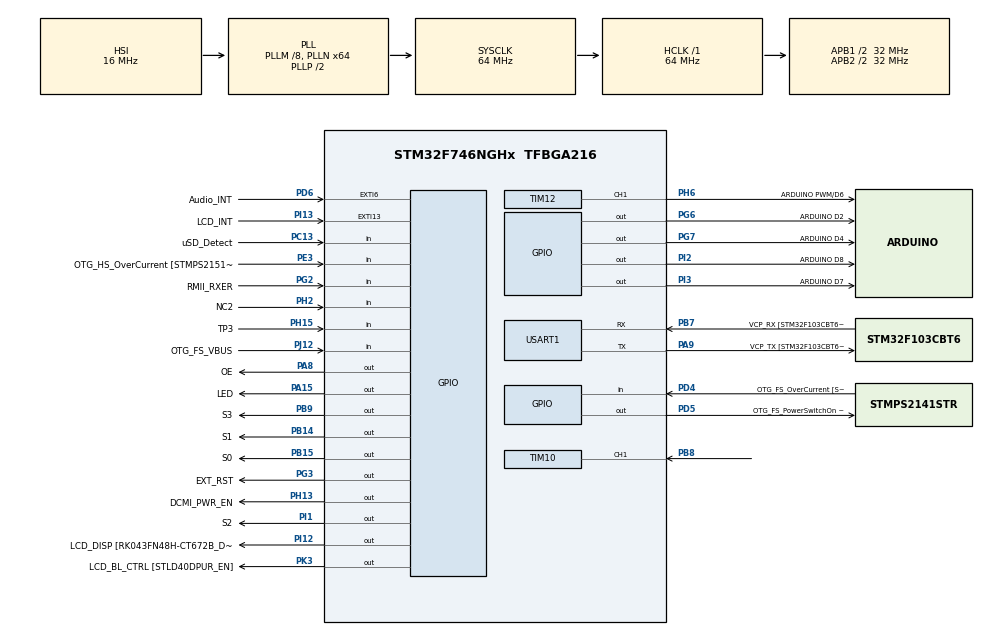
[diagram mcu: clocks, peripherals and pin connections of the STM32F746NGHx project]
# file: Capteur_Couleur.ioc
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Dma.Request0=USART1_RX
Dma.USART1_RX.0.Direction=DMA_PERIPH_TO_MEMORY
Dma.USART1_RX.0.FIFOMode=DMA_FIFOMODE_DISABLE
Dma.USART1_RX.0.Instance=DMA2_Stream2
Dma.USART1_RX.0.MemDataAlignment=DMA_MDATAALIGN_BYTE
Dma.USART1_RX.0.MemInc=DMA_MINC_ENABLE
Dma.USART1_RX.0.Mode=DMA_NORMAL
Dma.USART1_RX.0.PeriphDataAlignment=DMA_PDATAALIGN_BYTE
Dma.USART1_RX.0.PeriphInc=DMA_PINC_DISABLE
Dma.USART1_RX.0.Priority=DMA_PRIORITY_LOW
Mcu.Family=STM32F7
Mcu.Name=STM32F746NGHx
Mcu.Package=TFBGA216
NVIC.DMA2_Stream2_IRQn=true\:0\:0\:false\:false\:true\:false\:true
NVIC.PriorityGroup=NVIC_PRIORITYGROUP_4
NVIC.TIM1_UP_TIM10_IRQn=true\:0\:0\:false\:false\:true\:true\:true
PA0/WKUP.GPIO_Label=ARDUINO A0
PA0/WKUP.GPIO_Mode=GPIO_MODE_ANALOG
PA0/WKUP.GPIO_PuPd=GPIO_NOPULL
PA0/WKUP.Signal=ADCx_IN0
PA1.GPIO_Label=RMII_REF_CLK [LAN8742A-CZ-TR_REFCLK0]
PA1.Signal=ETH_REF_CLK
PA10.GPIO_Label=OTG_FS_ID
PA10.Signal=USB_OTG_FS_ID
PA11.GPIO_Label=OTG_FS_N
PA11.Signal=USB_OTG_FS_DM
PA12.GPIO_Label=OTG_FS_P
PA12.Signal=USB_OTG_FS_DP
PA13.GPIO_Label=SWDIO
PA13.Mode=Serial_Wire
PA13.Signal=SYS_JTMS-SWDIO
PA14.GPIO_Label=SWCLK
PA14.Mode=Serial_Wire
PA14.Signal=SYS_JTCK-SWCLK
PA15.GPIO_Label=LED
PA15.Signal=GPIO_Output
PA2.GPIO_Label=RMII_MDIO [LAN8742A-CZ-TR_MDIO]
PA2.Signal=ETH_MDIO
PA3.GPIO_Label=ULPI_D0 [USB3320C-EZK_D0]
PA3.Signal=USB_OTG_HS_ULPI_D0
PA4.GPIO_Label=DCMI_HSYNC
PA4.Signal=DCMI_HSYNC
PA5.GPIO_Label=ULPI_CLK [USB3320C-EZK_CLKOUT]
PA5.Signal=USB_OTG_HS_ULPI_CK
PA6.Signal=DCMI_PIXCLK
PA7.GPIO_Label=RMII_CRS_DV [LAN8742A-CZ-TR_CRS_DV]
PA7.Signal=ETH_CRS_DV
PA8.GPIO_Label=OE
PA8.Signal=GPIO_Output
PA9.GPIO_Label=VCP_TX [STM32F103CBT6_PA3]
PA9.GPIO_Mode=GPIO_MODE_AF_PP
PA9.GPIO_PuPd=GPIO_NOPULL
PA9.GPIO_Speed=GPIO_SPEED_FREQ_LOW
PA9.Mode=Asynchronous
PA9.Signal=USART1_TX
PB0.GPIO_Label=ULPI_D1 [USB3320C-EZK_D1]
PB0.Signal=USB_OTG_HS_ULPI_D1
PB1.GPIO_Label=ULPI_D2 [USB3320C-EZK_D2]
PB1.Signal=USB_OTG_HS_ULPI_D2
PB10.GPIO_Label=ULPI_D3 [USB3320C-EZK_D3]
PB10.Signal=USB_OTG_HS_ULPI_D3
PB11.GPIO_Label=ULPI_D4 [USB3320C-EZK_D4]
PB11.Signal=USB_OTG_HS_ULPI_D4
PB12.GPIO_Label=ULPI_D5 [USB3320C-EZK_D5]
PB12.Signal=USB_OTG_HS_ULPI_D5
PB13.GPIO_Label=ULPI_D6 [USB3320C-EZK_D6]
PB13.Signal=USB_OTG_HS_ULPI_D6
PB14.GPIO_Label=S1
PB14.Signal=GPIO_Output
PB15.GPIO_Label=S0
PB15.Signal=GPIO_Output
PB2.Signal=QUADSPI_CLK
PB3.GPIO_Label=SWO
PB3.Signal=SYS_JTDO-SWO
PB4.GPIO_Label=ARDUINO PWM/D3
PB4.GPIO_ModeDefaultPP=GPIO_MODE_AF_PP
PB4.GPIO_PuPd=GPIO_NOPULL
PB4.GPIO_Speed=GPIO_SPEED_FREQ_LOW
PB4.Signal=S_TIM3_CH1
PB5.GPIO_Label=ULPI_D7 [USB3320C-EZK_D7]
PB5.Signal=USB_OTG_HS_ULPI_D7
PB6.GPIO_Label=QSPI_NCS [N25Q128A13EF840E_S]
PB6.Signal=QUADSPI_BK1_NCS
PB7.GPIO_Label=VCP_RX [STM32F103CBT6_PA2]
PB7.GPIO_Mode=GPIO_MODE_AF_PP
PB7.GPIO_PuPd=GPIO_NOPULL
PB7.GPIO_Speed=GPIO_SPEED_FREQ_LOW
PB7.Mode=Asynchronous
PB7.Signal=USART1_RX
PB8.Signal=S_TIM10_CH1
PB9.GPIO_Label=S3
PB9.Signal=GPIO_Output
PC0.GPIO_Label=ULPI_STP [USB3320C-EZK_STP]
PC0.Signal=USB_OTG_HS_ULPI_STP
PC1.GPIO_Label=RMII_MDC [LAN8742A-CZ-TR_MDC]
PC1.Signal=ETH_MDC
PC10.GPIO_Label=SDMMC_D2
PC10.Signal=SDMMC1_D2
PC11.GPIO_Label=SDMMC_D3
PC11.Signal=SDMMC1_D3
PC12.GPIO_Label=SDMMC_CK
PC12.Signal=SDMMC1_CK
PC13.GPIO_Label=uSD_Detect
PC13.Signal=GPIO_Input
PC14/OSC32_IN.GPIO_Label=RCC_OSC32_IN
PC14/OSC32_IN.Signal=RCC_OSC32_IN
PC15/OSC32_OUT.GPIO_Label=RCC_OSC32_OUT
PC15/OSC32_OUT.Signal=RCC_OSC32_OUT
PC2.GPIO_Label=ULPI_DIR [USB3320C-EZK_DIR]
PC2.Signal=USB_OTG_HS_ULPI_DIR
PC3.GPIO_Label=FMC_SDCKE0 [MT48LC4M32B2B5-6A_CKE]
PC3.Signal=FMC_SDCKE0
PC4.GPIO_Label=RMII_RXD0 [LAN8742A-CZ-TR_RXD0]
PC4.Signal=ETH_RXD0
PC5.GPIO_Label=RMII_RXD1 [LAN8742A-CZ-TR_RXD1]
PC5.Signal=ETH_RXD1
PC6.GPIO_Label=ARDUINO TX/D1
PC6.Signal=USART6_TX
PC7.GPIO_Label=ARDUINO RX/D0
PC7.Signal=USART6_RX
PC8.Signal=SDMMC1_D0
PC9.Signal=SDMMC1_D1
PD0.GPIO_Label=FMC_D2 [MT48LC4M32B2B5-6A_DQ2]
PD0.Signal=FMC_D2_DA2
PD1.GPIO_Label=FMC_D3 [MT48LC4M32B2B5-6A_DQ3]
PD1.Signal=FMC_D3_DA3
PD10.GPIO_Label=FMC_D15 [MT48LC4M32B2B5-6A_DQ15]
PD10.Signal=FMC_D15_DA15
PD11.GPIO_Label=QSPI_D0 [N25Q128A13EF840E_DQ0]
PD11.Signal=QUADSPI_BK1_IO0
PD12.GPIO_Label=QSPI_D1 [N25Q128A13EF840E_DQ1]
PD12.Signal=QUADSPI_BK1_IO1
PD13.GPIO_Label=QSPI_D3 [N25Q128A13EF840E_DQ3]
PD13.Signal=QUADSPI_BK1_IO3
PD14.GPIO_Label=FMC_D0 [MT48LC4M32B2B5-6A_DQ0]
PD14.Signal=FMC_D0_DA0
PD15.GPIO_Label=FMC_D1 [MT48LC4M32B2B5-6A_DQ1]
PD15.Signal=FMC_D1_DA1
PD2.GPIO_Label=SDMMC_D0
PD2.Signal=SDMMC1_CMD
PD3.GPIO_Label=DCMI_D5
PD3.Signal=DCMI_D5
PD4.GPIO_Label=OTG_FS_OverCurrent [STMPS2141STR_Fault]
PD4.Signal=GPIO_Input
PD5.GPIO_Label=OTG_FS_PowerSwitchOn [STMPS2141STR_EN]
PD5.PinState=GPIO_PIN_SET
PD5.Signal=GPIO_Output
PD6.GPIO_Label=Audio_INT
PD6.GPIO_ModeDefaultEXTI=GPIO_MODE_EVT_RISING
PD6.Signal=GPXTI6
PD7.GPIO_Label=SPDIF_RX0 [74LVC1G04SE_4]
PD7.Signal=SPDIFRX_IN0
PD8.GPIO_Label=FMC_D13 [MT48LC4M32B2B5-6A_DQ13]
PD8.Signal=FMC_D13_DA13
PD9.GPIO_Label=FMC_D14 [MT48LC4M32B2B5-6A_DQ14]
PD9.Signal=FMC_D14_DA14
PE0.GPIO_Label=FMC_NBL0 [MT48LC4M32B2B5-6A_DQM0]
PE0.Signal=FMC_NBL0
PE1.GPIO_Label=FMC_NBL1 [MT48LC4M32B2B5-6A_DQM1]
PE1.Signal=FMC_NBL1
PE10.GPIO_Label=FMC_D7 [MT48LC4M32B2B5-6A_DQ7]
PE10.Signal=FMC_D7_DA7
PE11.GPIO_Label=FMC_D8 [MT48LC4M32B2B5-6A_DQ8]
PE11.Signal=FMC_D8_DA8
PE12.GPIO_Label=FMC_D9 [MT48LC4M32B2B5-6A_DQ9]
PE12.Signal=FMC_D9_DA9
PE13.GPIO_Label=FMC_D10 [MT48LC4M32B2B5-6A_DQ10]
PE13.Signal=FMC_D10_DA10
PE14.GPIO_Label=FMC_D11 [MT48LC4M32B2B5-6A_DQ11]
PE14.Signal=FMC_D11_DA11
PE15.GPIO_Label=FMC_D12 [MT48LC4M32B2B5-6A_DQ12]
PE15.Signal=FMC_D12_DA12
PE2.GPIO_Label=QSPI_D2 [N25Q128A13EF840E_DQ2]
PE2.Signal=QUADSPI_BK1_IO2
PE3.GPIO_Label=OTG_HS_OverCurrent [STMPS2151STR_FAULT]
PE3.Signal=GPIO_Input
PE4.GPIO_Label=LCD_B0 [RK043FN48H-CT672B_B0]
PE4.Signal=LTDC_B0
PE5.GPIO_Label=DCMI_D6
PE5.Signal=DCMI_D6
PE6.GPIO_Label=DCMI_D7
PE6.Signal=DCMI_D7
PE7.GPIO_Label=FMC_D4 [MT48LC4M32B2B5-6A_DQ4]
PE7.Signal=FMC_D4_DA4
PE8.GPIO_Label=FMC_D5 [MT48LC4M32B2B5-6A_DQ5]
PE8.Signal=FMC_D5_DA5
PE9.GPIO_Label=FMC_D6 [MT48LC4M32B2B5-6A_DQ6]
PE9.Signal=FMC_D6_DA6
PF0.GPIO_Label=FMC_A0 [MT48LC4M32B2B5-6A_A0]
PF0.Signal=FMC_A0
PF1.GPIO_Label=FMC_A1 [MT48LC4M32B2B5-6A_A1]
PF1.Signal=FMC_A1
PF10.GPIO_Label=ARDUINO A1
PF10.GPIO_Mode=GPIO_MODE_ANALOG
PF10.GPIO_PuPd=GPIO_NOPULL
PF10.Signal=ADC3_IN8
PF11.GPIO_Label=FMC_SDNRAS [MT48LC4M32B2B5-6A_RAS]
PF11.Signal=FMC_SDNRAS
PF12.GPIO_Label=FMC_A6 [MT48LC4M32B2B5-6A_A6]
PF12.Signal=FMC_A6
PF13.GPIO_Label=FMC_A7 [MT48LC4M32B2B5-6A_A7]
PF13.Signal=FMC_A7
PF14.GPIO_Label=FMC_A8 [MT48LC4M32B2B5-6A_A8]
PF14.Signal=FMC_A8
PF15.GPIO_Label=FMC_A9 [MT48LC4M32B2B5-6A_A9]
PF15.Signal=FMC_A9
PF2.GPIO_Label=FMC_A2 [MT48LC4M32B2B5-6A_A2]
PF2.Signal=FMC_A2
PF3.GPIO_Label=FMC_A3 [MT48LC4M32B2B5-6A_A3]
PF3.Signal=FMC_A3
PF4.GPIO_Label=FMC_A4 [MT48LC4M32B2B5-6A_A4]
PF4.Signal=FMC_A4
PF5.GPIO_Label=FMC_A5 [MT48LC4M32B2B5-6A_A5]
PF5.Signal=FMC_A5
PF6.GPIO_Label=ARDUINO A5
PF6.GPIO_Mode=GPIO_MODE_ANALOG
PF6.GPIO_PuPd=GPIO_NOPULL
PF6.Signal=ADC3_IN4
PF7.GPIO_Label=ARDUINO A4
PF7.GPIO_Mode=GPIO_MODE_ANALOG
PF7.GPIO_PuPd=GPIO_NOPULL
PF7.Signal=ADC3_IN5
PF8.GPIO_Label=ARDUINO A3
PF8.GPIO_Mode=GPIO_MODE_ANALOG
PF8.GPIO_PuPd=GPIO_NOPULL
PF8.Signal=ADC3_IN6
PF9.GPIO_Label=ARDUINO A2
PF9.GPIO_Mode=GPIO_MODE_ANALOG
PF9.GPIO_PuPd=GPIO_NOPULL
PF9.Signal=ADC3_IN7
PG0.GPIO_Label=FMC_A10 [MT48LC4M32B2B5-6A_A10]
PG0.Signal=FMC_A10
PG1.GPIO_Label=FMC_A11 [MT48LC4M32B2B5-6A_A11]
PG1.Signal=FMC_A11
PG10.GPIO_Label=SAI2_SDB [WM8994ECS/R_ADCDAT1]
PG10.Signal=SAI2_SD_B
PG11.GPIO_Label=RMII_TX_EN [LAN8742A-CZ-TR_TXEN]
PG11.Signal=ETH_TX_EN
PG12.GPIO_Label=LCD_B4 [RK043FN48H-CT672B_B4]
PG12.Signal=LTDC_B4
PG13.GPIO_Label=RMII_TXD0 [LAN8742A-CZ-TR_TXD0]
PG13.Signal=ETH_TXD0
PG14.GPIO_Label=RMII_TXD1 [LAN8742A-CZ-TR_TXD1]
PG14.Signal=ETH_TXD1
PG15.GPIO_Label=FMC_SDNCAS [MT48LC4M32B2B5-6A_CAS]
PG15.Signal=FMC_SDNCAS
PG2.GPIO_Label=RMII_RXER
PG2.Signal=GPIO_Input
PG3.GPIO_Label=EXT_RST
PG3.Signal=GPIO_Output
PG4.GPIO_Label=FMC_BA0 [MT48LC4M32B2B5-6A_BA0]
PG4.Signal=FMC_A14_BA0
PG5.GPIO_Label=FMC_BA1 [MT48LC4M32B2B5-6A_BA1]
PG5.Signal=FMC_A15_BA1
PG6.GPIO_Label=ARDUINO D2
PG6.Signal=GPIO_Output
PG7.GPIO_Label=ARDUINO D4
PG7.Signal=GPIO_Output
PG8.GPIO_Label=FMC_SDCLK [MT48LC4M32B2B5-6A_CLK]
PG8.Signal=FMC_SDCLK
PG9.GPIO_Label=DCMI_VSYNC
PG9.Signal=DCMI_VSYNC
PH0/OSC_IN.GPIO_Label=OSC_25M [NZ2520SB-25.00M_OUT]
PH0/OSC_IN.Mode=HSE-External-Oscillator
PH0/OSC_IN.Signal=RCC_OSC_IN
PH1/OSC_OUT.Mode=HSE-External-Oscillator
PH1/OSC_OUT.Signal=RCC_OSC_OUT
PH10.GPIO_Label=DCMI_D1
PH10.Signal=DCMI_D1
PH11.GPIO_Label=DCMI_D2
PH11.Signal=DCMI_D2
PH12.GPIO_Label=DCMI_D3
PH12.Signal=DCMI_D3
PH13.GPIO_Label=DCMI_PWR_EN
PH13.Signal=GPIO_Output
PH14.GPIO_Label=DCMI_D4
PH14.Signal=DCMI_D4
PH15.GPIO_Label=TP3
PH15.Signal=GPIO_Input
PH2.GPIO_Label=NC2
PH2.Signal=GPIO_Input
PH3.GPIO_Label=FMC_SDNE0 [MT48LC4M32B2B5-6A_CS]
PH3.Signal=FMC_SDNE0
PH4.GPIO_Label=ULPI_NXT [USB3320C-EZK_NXT]
PH4.Signal=USB_OTG_HS_ULPI_NXT
PH5.GPIO_Label=FMC_SDNME [MT48LC4M32B2B5-6A_WE]
PH5.Signal=FMC_SDNWE
PH6.GPIO_Label=ARDUINO PWM/D6
PH6.Signal=S_TIM12_CH1
PH7.GPIO_Label=LCD_SCL [RK043FN48H-CT672B_SCL]
PH7.Signal=I2C3_SCL
PH8.GPIO_Label=LCD_SDA [RK043FN48H-CT672B_SDA]
PH8.Signal=I2C3_SDA
PH9.GPIO_Label=DCMI_D0
PH9.Signal=DCMI_D0
PI0.GPIO_Label=ARDUINO PWM/CS/D5
PI0.GPIO_ModeDefaultPP=GPIO_MODE_AF_PP
PI0.GPIO_PuPd=GPIO_NOPULL
PI0.GPIO_Speed=GPIO_SPEED_FREQ_LOW
PI0.Signal=S_TIM5_CH4
PI1.GPIO_Label=S2
PI1.Signal=GPIO_Output
PI10.GPIO_Label=LCD_HSYNC [RK043FN48H-CT672B_HSYNC]
PI10.Signal=LTDC_HSYNC
PI12.GPIO_Label=LCD_DISP [RK043FN48H-CT672B_DISP] 
PI12.Signal=GPIO_Output
PI13.GPIO_Label=LCD_INT
PI13.GPIO_ModeDefaultEXTI=GPIO_MODE_EVT_RISING
PI13.Signal=GPXTI13
PI14.GPIO_Label=LCD_CLK [RK043FN48H-CT672B_CLK]
PI14.Signal=LTDC_CLK
PI15.GPIO_Label=LCD_R0 [RK043FN48H-CT672B_R0]
PI15.Signal=LTDC_R0
PI2.GPIO_Label=ARDUINO D8
PI2.Signal=GPIO_Output
PI3.GPIO_Label=ARDUINO D7
PI3.Signal=GPIO_Output
PI4.GPIO_Label=SAI2_MCLKA [WM8994ECS/R_MCLK1]
PI4.Signal=SAI2_MCLK_A
PI5.GPIO_Label=SAI2_SCKA [WM8994ECS/R_BCLK1]
PI5.Signal=SAI2_SCK_A
PI6.GPIO_Label=SAI2_SDA [WM8994ECS/R_DACDAT1]
PI6.Signal=SAI2_SD_A
PI7.GPIO_Label=SAI2_FSA [WM8994ECS/R_LRCLK1]
PI7.Signal=SAI2_FS_A
PI8.GPIO_Label=NC1 [TP2]
PI8.Signal=RTC_TS
PI9.GPIO_Label=LCD_VSYNC [RK043FN48H-CT672B_VSYNC]
PI9.Signal=LTDC_VSYNC
PJ0.GPIO_Label=LCD_R1 [RK043FN48H-CT672B_R1]
PJ0.Signal=LTDC_R1
PJ1.GPIO_Label=LCD_R2 [RK043FN48H-CT672B_R2]
PJ1.Signal=LTDC_R2
PJ10.GPIO_Label=LCD_G3 [RK043FN48H-CT672B_G3]
PJ10.Signal=LTDC_G3
PJ11.GPIO_Label=LCD_G4 [RK043FN48H-CT672B_G4]
PJ11.Signal=LTDC_G4
PJ12.GPIO_Label=OTG_FS_VBUS
PJ12.Signal=GPIO_Input
PJ13.GPIO_Label=LCD_B1 [RK043FN48H-CT672B_B1]
PJ13.Signal=LTDC_B1
PJ14.GPIO_Label=LCD_B2 [RK043FN48H-CT672B_B2]
PJ14.Signal=LTDC_B2
PJ15.GPIO_Label=LCD_B3 [RK043FN48H-CT672B_B3]
PJ15.Signal=LTDC_B3
PJ2.GPIO_Label=LCD_R3 [RK043FN48H-CT672B_R3]
PJ2.Signal=LTDC_R3
PJ3.GPIO_Label=LCD_R4 [RK043FN48H-CT672B_R4]
PJ3.Signal=LTDC_R4
PJ4.GPIO_Label=LCD_R5 [RK043FN48H-CT672B_R5]
PJ4.Signal=LTDC_R5
PJ5.GPIO_Label=LCD_R6 [RK043FN48H-CT672B_R6]
PJ5.Signal=LTDC_R6
PJ6.GPIO_Label=LCD_R7 [RK043FN48H-CT672B_R7]
PJ6.Signal=LTDC_R7
PJ7.GPIO_Label=LCD_G0 [RK043FN48H-CT672B_G0]
PJ7.Signal=LTDC_G0
PJ8.GPIO_Label=LCD_G1 [RK043FN48H-CT672B_G1]
PJ8.Signal=LTDC_G1
PJ9.GPIO_Label=LCD_G2 [RK043FN48H-CT672B_G2]
PJ9.Signal=LTDC_G2
PK0.GPIO_Label=LCD_G5 [RK043FN48H-CT672B_G5]
PK0.Signal=LTDC_G5
PK1.GPIO_Label=LCD_G6 [RK043FN48H-CT672B_G6]
PK1.Signal=LTDC_G6
PK2.GPIO_Label=LCD_G7 [RK043FN48H-CT672B_G7]
PK2.Signal=LTDC_G7
PK3.GPIO_Label=LCD_BL_CTRL [STLD40DPUR_EN]
PK3.Signal=GPIO_Output
PK4.GPIO_Label=LCD_B5 [RK043FN48H-CT672B_B5]
PK4.Signal=LTDC_B5
PK5.GPIO_Label=LCD_B6 [RK043FN48H-CT672B_B6]
PK5.Signal=LTDC_B6
PK6.GPIO_Label=LCD_B7 [RK043FN48H-CT672B_B7]
PK6.Signal=LTDC_B7
PK7.GPIO_Label=LCD_DE [RK043FN48H-CT672B_DE]
PK7.Signal=LTDC_DE
ProjectManager.HeapSize=0x200
ProjectManager.StackSize=0x400
ProjectManager.TargetToolchain=STM32CubeIDE
RCC.AHBFreq_Value=64000000
RCC.APB1CLKDivider=RCC_HCLK_DIV2
RCC.APB1Freq_Value=32000000
RCC.APB1TimFreq_Value=64000000
RCC.APB2CLKDivider=RCC_HCLK_DIV2
RCC.APB2Freq_Value=32000000
RCC.APB2TimFreq_Value=64000000
RCC.CortexFreq_Value=64000000
RCC.HCLKFreq_Value=64000000
RCC.HSE_VALUE=25000000
RCC.HSI_VALUE=16000000
RCC.LSE_VALUE=32768
RCC.PLLM=8
RCC.PLLN=64
RCC.PLLSourceVirtual=RCC_PLLSOURCE_HSI
RCC.SYSCLKFreq_VALUE=64000000
RCC.SYSCLKSource=RCC_SYSCLKSOURCE_PLLCLK
RCC.USBFreq_Value=64000000
RCC.VCOOutputFreq_Value=128000000
SH.ADCx_IN0.0=ADC3_IN0
SH.FMC_A0.0=FMC_A0
SH.FMC_A1.0=FMC_A1
SH.FMC_A10.0=FMC_A10
SH.FMC_A11.0=FMC_A11
SH.FMC_A14_BA0.0=FMC_BA0
SH.FMC_A15_BA1.0=FMC_BA1
SH.FMC_A2.0=FMC_A2
SH.FMC_A3.0=FMC_A3
SH.FMC_A4.0=FMC_A4
SH.FMC_A5.0=FMC_A5
SH.FMC_A6.0=FMC_A6
SH.FMC_A7.0=FMC_A7
SH.FMC_A8.0=FMC_A8
SH.FMC_A9.0=FMC_A9
SH.FMC_D0_DA0.0=FMC_D0
SH.FMC_D10_DA10.0=FMC_D10
SH.FMC_D11_DA11.0=FMC_D11
SH.FMC_D12_DA12.0=FMC_D12
SH.FMC_D13_DA13.0=FMC_D13
SH.FMC_D14_DA14.0=FMC_D14
SH.FMC_D15_DA15.0=FMC_D15
SH.FMC_D1_DA1.0=FMC_D1
SH.FMC_D2_DA2.0=FMC_D2
SH.FMC_D3_DA3.0=FMC_D3
SH.FMC_D4_DA4.0=FMC_D4
SH.FMC_D5_DA5.0=FMC_D5
SH.FMC_D6_DA6.0=FMC_D6
SH.FMC_D7_DA7.0=FMC_D7
SH.FMC_D8_DA8.0=FMC_D8
SH.FMC_D9_DA9.0=FMC_D9
SH.FMC_NBL0.0=FMC_NBL0
SH.FMC_NBL1.0=FMC_NBL1
SH.FMC_SDCLK.0=FMC_SDCLK
SH.FMC_SDNCAS.0=FMC_SDNCAS
SH.FMC_SDNRAS.0=FMC_SDNRAS
SH.FMC_SDNWE.0=FMC_SDNWE
SH.S_TIM10_CH1.0=TIM10_CH1,Input_Capture1_from_TI1
SH.S_TIM12_CH1.0=TIM12_CH1,PWM Generation1 CH1
SH.S_TIM3_CH1.0=TIM3_CH1
SH.S_TIM5_CH4.0=TIM5_CH4
TIM10.Channel=TIM_CHANNEL_1
TIM12.AutoReloadPreload=TIM_AUTORELOAD_PRELOAD_ENABLE
TIM12.Channel-PWM\ Generation1\ CH1=TIM_CHANNEL_1
TIM12.Period=9
TIM12.Prescaler=63
TIM12.Pulse-PWM\ Generation1\ CH1=4
USART1.VirtualMode-Asynchronous=VM_ASYNC
VP_TIM10_VS_ClockSourceINT.Mode=Enable_Timer
board=STM32F746G-DISCO

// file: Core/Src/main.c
/* USER CODE BEGIN Header */
/**
 ******************************************************************************
 * @file           : main.c
 * @brief          : Main program body
 ******************************************************************************
 * @attention
 *
 * Copyright (c) 2022 STMicroelectronics.
 * All rights reserved.
 *
 * This software is licensed under terms that can be found in the LICENSE file
 * in the root directory of this software component.
 * If no LICENSE file comes with this software, it is provided AS-IS.
 *
 ******************************************************************************
 */
/* USER CODE END Header */
#include "main.h"
#include "dma.h"
#include "tim.h"
#include "usart.h"
#include "gpio.h"

/* USER CODE BEGIN Includes */
#include "TCS3200.h"
#include <string.h>
/* USER CODE END Includes */

/* USER CODE BEGIN PD */
#define IDLE   0
#define DONE   1
#define F_CLK  64000000UL
/* USER CODE END PD */

/* USER CODE BEGIN PV */

// For input frequency calculation
volatile uint8_t gu8_State = IDLE;
volatile uint32_t gu32_T1 = 0;
volatile uint32_t gu32_T2 = 0;
volatile uint32_t gu32_Ticks = 0;
volatile uint16_t gu16_TIM10_OVC = 0;
volatile uint32_t gu32_Freq = 0;

char init_msg[100];
char test_msg[100];

TCS3200 tcs;
/* USER CODE END PV */

void SystemClock_Config(void);

int main(void)
{

  /* MCU Configuration--------------------------------------------------------*/

  /* Reset of all peripherals, Initializes the Flash interface and the Systick. */
  HAL_Init();

  /* Configure the system clock */
  SystemClock_Config();

  /* Initialize all configured peripherals */
  MX_GPIO_Init();
  MX_DMA_Init();
  MX_TIM10_Init();
  MX_USART1_UART_Init();
  MX_TIM12_Init();
  /* USER CODE BEGIN 2 */
	sprintf(init_msg, "TCS3200 Initialized\r\n");
	HAL_UART_Transmit(&huart1,init_msg,strlen(init_msg), HAL_MAX_DELAY);

	TCS3200_Init(&tcs);

	HAL_TIM_PWM_Start(&htim12, TIM_CHANNEL_1);

  /* USER CODE END 2 */

  /* Infinite loop */
  /* USER CODE BEGIN WHILE */
	while (1)
	{
		tcs.red=TCS3200_Read_Color(&tcs,FILTER_RED);
		tcs.green=TCS3200_Read_Color(&tcs,FILTER_GREEN);
		tcs.blue=TCS3200_Read_Color(&tcs,FILTER_BLUE);

		//TCS3200_Display_Colors(tcs);
		TCS3200_Detected_Color(tcs);

		HAL_Delay(1000);

    /* USER CODE END WHILE */

	}
}

void SystemClock_Config(void)
{
  RCC_OscInitTypeDef RCC_OscInitStruct = {0};
  RCC_ClkInitTypeDef RCC_ClkInitStruct = {0};

  /** Configure the main internal regulator output voltage
  */
  __HAL_RCC_PWR_CLK_ENABLE();
  __HAL_PWR_VOLTAGESCALING_CONFIG(PWR_REGULATOR_VOLTAGE_SCALE3);
  /** Initializes the RCC Oscillators according to the specified parameters
  * in the RCC_OscInitTypeDef structure.
  */
  RCC_OscInitStruct.OscillatorType = RCC_OSCILLATORTYPE_HSI;
  RCC_OscInitStruct.HSIState = RCC_HSI_ON;
  RCC_OscInitStruct.HSICalibrationValue = RCC_HSICALIBRATION_DEFAULT;
  RCC_OscInitStruct.PLL.PLLState = RCC_PLL_ON;
  RCC_OscInitStruct.PLL.PLLSource = RCC_PLLSOURCE_HSI;
  RCC_OscInitStruct.PLL.PLLM = 8;
  RCC_OscInitStruct.PLL.PLLN = 64;
  RCC_OscInitStruct.PLL.PLLP = RCC_PLLP_DIV2;
  RCC_OscInitStruct.PLL.PLLQ = 2;
  if (HAL_RCC_OscConfig(&RCC_OscInitStruct) != HAL_OK)
  {
    Error_Handler();
  }
  /** Initializes the CPU, AHB and APB buses clocks
  */
  RCC_ClkInitStruct.ClockType = RCC_CLOCKTYPE_HCLK|RCC_CLOCKTYPE_SYSCLK
                              |RCC_CLOCKTYPE_PCLK1|RCC_CLOCKTYPE_PCLK2;
  RCC_ClkInitStruct.SYSCLKSource = RCC_SYSCLKSOURCE_PLLCLK;
  RCC_ClkInitStruct.AHBCLKDivider = RCC_SYSCLK_DIV1;
  RCC_ClkInitStruct.APB1CLKDivider = RCC_HCLK_DIV2;
  RCC_ClkInitStruct.APB2CLKDivider = RCC_HCLK_DIV2;

  if (HAL_RCC_ClockConfig(&RCC_ClkInitStruct, FLASH_LATENCY_2) != HAL_OK)
  {
    Error_Handler();
  }
}

/* USER CODE BEGIN 4 */
void HAL_TIM_IC_CaptureCallback(TIM_HandleTypeDef *htim)
{
	if (htim->Instance == TIM10)
	{
		if((gu8_State == IDLE)&(tcs.freq_available==1))
		{
			gu32_T1 = TIM10->CCR1;
			gu16_TIM10_OVC = 0;
			gu8_State = DONE;

		}
		else if((gu8_State == DONE)&(tcs.freq_available==1))
		{
			gu32_T2 = TIM10->CCR1;
			gu32_Ticks = (gu32_T2 + (gu16_TIM10_OVC * 65535)) - gu32_T1;
			tcs.freq = (uint32_t)(F_CLK/gu32_Ticks);
			if(tcs.freq != 0)
			{
				//sprintf(freq_msg, "Frequency = %lu Hz\r\n",gu32_Freq);
				//HAL_UART_Transmit(&huart1,freq_msg,strlen(freq_msg), HAL_MAX_DELAY);
				tcs.freq_available=0;
			}
			gu8_State = IDLE;
		}
	}
}

void HAL_TIM_PeriodElapsedCallback(TIM_HandleTypeDef* htim)
{
	if (htim->Instance == TIM10)
	{
		gu16_TIM10_OVC++;
	}
}
/* USER CODE END 4 */

void Error_Handler(void)
{
	__disable_irq();
	while (1)
	{
	}
}
